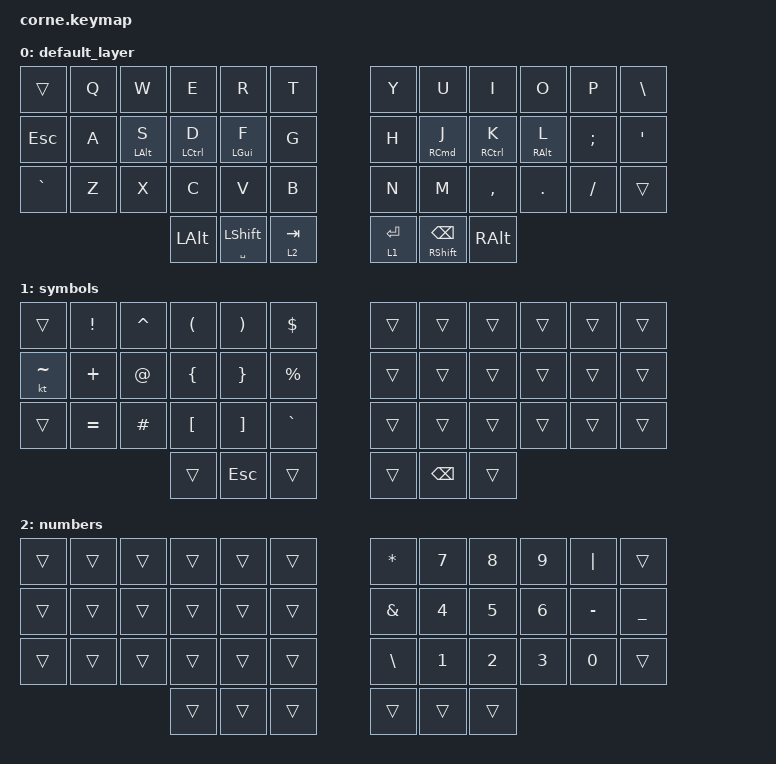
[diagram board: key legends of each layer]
/*
 * Copyright (c) 2020 The ZMK Contributors
 *
 * SPDX-License-Identifier: MIT
 */

#include <behaviors.dtsi>
#include <dt-bindings/zmk/keys.h>

/ {
    behaviors {
        hml: hml {
            compatible = "zmk,behavior-hold-tap";
            label = "HML";
            bindings = <&kp>, <&kp>;

            #binding-cells = <2>;
            tapping-term-ms = <280>;
            hold-trigger-key-positions = <6 7 8 9 10 11 18 19 20 21 22 23 30 31 32 33 34 35 39 40 41 36 37 38>;
            quick-tap-ms = <175>;
            flavor = "balanced";
            hold-trigger-on-release;
            require-prior-idle-ms = <150>;
        };

        hmr: hmr {
            compatible = "zmk,behavior-hold-tap";
            label = "HMR";
            bindings = <&kp>, <&kp>;

            #binding-cells = <2>;
            tapping-term-ms = <280>;
            hold-trigger-key-positions = <0 1 2 3 4 5 12 13 14 15 16 17 24 25 26 27 28 29 36 37 38>;
            quick-tap-ms = <175>;
            flavor = "balanced";
            hold-trigger-on-release;
            require-prior-idle-ms = <150>;
        };
    };

    keymap {
        compatible = "zmk,keymap";

        default_layer {
            // -----------------------------------------------------------------------------------------
            // |  TAB |  Q  |  W  |  E  |  R  |  T  |   |  Y  |  U   |  I  |  O  |  P  | BSPC |
            // | CTRL |  A  |  S  |  D  |  F  |  G  |   |  H  |  J   |  K  |  L  |  ;  |  '   |
            // | SHFT |  Z  |  X  |  C  |  V  |  B  |   |  N  |  M   |  ,  |  .  |  /  | ESC  |
            //                    | GUI | LWR | SPC |   | ENT | RSE  | ALT |

            bindings = <
&trans      &kp Q  &kp W            &kp E                &kp R                  &kp T        &kp Y        &kp U                       &kp I                 &kp O             &kp P          &kp BACKSLASH
&kp ESCAPE  &kp A  &hml LEFT_ALT S  &hml LEFT_CONTROL D  &hml LEFT_GUI F        &kp G        &kp H        &hmr RIGHT_COMMAND J        &hmr RIGHT_CONTROL K  &hmr RIGHT_ALT L  &kp SEMICOLON  &kp SQT
&kp GRAVE   &kp Z  &kp X            &kp C                &kp V                  &kp B        &kp N        &kp M                       &kp COMMA             &kp DOT           &kp FSLH       &trans
                                    &kp LEFT_ALT         &hml SPACE LEFT_SHIFT  &lt 2 TAB    &lt 1 ENTER  &hmr RIGHT_SHIFT BACKSPACE  &kp RIGHT_ALT
            >;
        };

        symbols {
            // -----------------------------------------------------------------------------------------
            // |  TAB |  1  |  2  |  3  |  4  |  5  |   |  6  |  7  |  8  |  9  |  0  | BSPC |
            // | BTCLR| BT1 | BT2 | BT3 | BT4 | BT5 |   | LFT | DWN |  UP | RGT |     |      |
            // | SHFT |     |     |     |     |     |   |     |     |     |     |     |      |
            //                    | GUI |     | SPC |   | ENT |     | ALT |

            bindings = <
&trans     &kp EXCLAMATION  &kp CARET    &kp LEFT_PARENTHESIS  &kp RIGHT_PARENTHESIS  &kp DOLLAR     &trans  &trans         &trans  &trans  &trans  &trans
&kt TILDE  &kp PLUS         &kp AT_SIGN  &kp LEFT_BRACE        &kp RIGHT_BRACE        &kp PERCENT    &trans  &trans         &trans  &trans  &trans  &trans
&trans     &kp EQUAL        &kp HASH     &kp LEFT_BRACKET      &kp RIGHT_BRACKET      &kp GRAVE      &trans  &trans         &trans  &trans  &trans  &trans
                                         &trans                &kp ESCAPE             &trans         &trans  &kp BACKSPACE  &trans
            >;
        };

        numbers {
            bindings = <
&trans  &trans  &trans  &trans  &trans  &trans    &kp ASTERISK   &kp N7        &kp N8        &kp N9        &kp PIPE   &trans
&trans  &trans  &trans  &trans  &trans  &trans    &kp AMPERSAND  &kp NUMBER_4  &kp N5        &kp NUMBER_6  &kp MINUS  &kp UNDERSCORE
&trans  &trans  &trans  &trans  &trans  &trans    &kp BACKSLASH  &kp NUMBER_1  &kp NUMBER_2  &kp NUMBER_3  &kp N0     &trans
                        &trans  &trans  &trans    &trans         &trans        &trans
            >;
        };
    };
};
